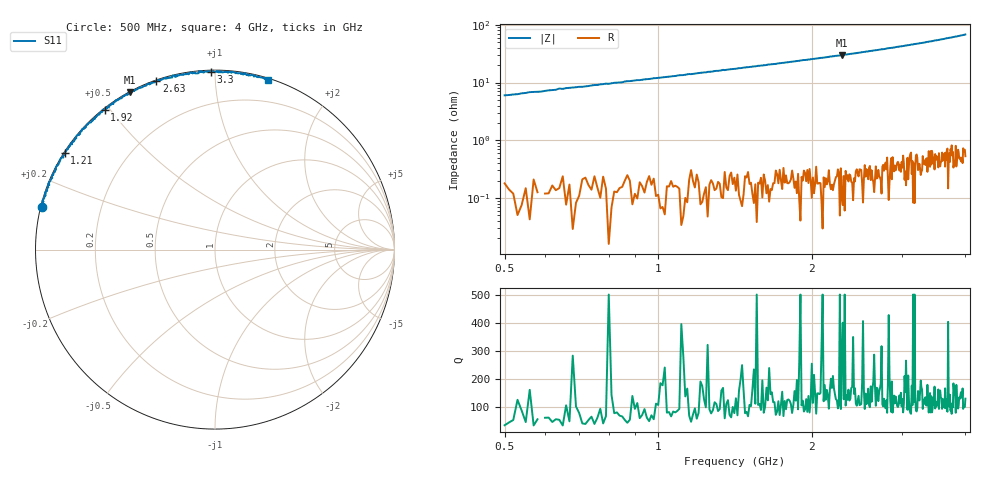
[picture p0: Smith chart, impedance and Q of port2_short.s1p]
!Agilent Technologies,E8363C,MY49030273,A.09.42.18
!Agilent E8363C: A.09.42.18
!Date: Tuesday, May 03, 2022 03:54:47
!Correction: S22(Full 2 Port(1,2))
!S1P File: Measurement: S22:
!Created with skrf (http://scikit-rf.org).
# GHz S RI R 50.0
!freq ReS11 ImS11
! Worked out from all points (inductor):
!   351 points, 500 MHz to 4 GHz, reference 50 ohm
!   read as one part to ground: L = 1.91 nH near 510 MHz
!   highest Q = 295 at 2.29 GHz (marker M1), where L = 2.07 nH
!   S11 on the Smith chart (normalised r, x): 500 MHz: 0.00, +0.12; 1.21 GHz: 0.00, +0.29; 1.92 GHz: 0.00, +0.49; 2.63 GHz: 0.00, +0.71; 3.3 GHz: 0.01, +0.98; 4 GHz: 0.01, +1.36
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0.5  -0.9648 0.2349
0.59  -0.962 0.2735
0.64  -0.9462 0.3053
0.65  -0.9441 0.3004
0.8  -0.9296 0.3669
0.94  -0.8982 0.4288
1.21  -0.8379 0.5405
1.31  -0.81 0.5747
1.34  -0.7988 0.5956
1.35  -0.7975 0.5863
1.38  -0.7878 0.6018
1.6  -0.7285 0.6798
1.82  -0.6495 0.7513
1.92  -0.615 0.7803
2.25  -0.484 0.8644
2.29  -0.474 0.8771
2.63  -0.3275 0.9388
2.69  -0.2999 0.9479
2.83  -0.2345 0.9698
2.9  -0.2114 0.9702
2.93  -0.1865 0.9744
3.11  -0.112 0.9823
3.13  -0.0938 0.9822
3.18  -0.075 0.9954
3.3  -0.0232 0.9889
3.57  0.106 0.988
3.7  0.1647 0.9839
4  0.2961 0.9474
